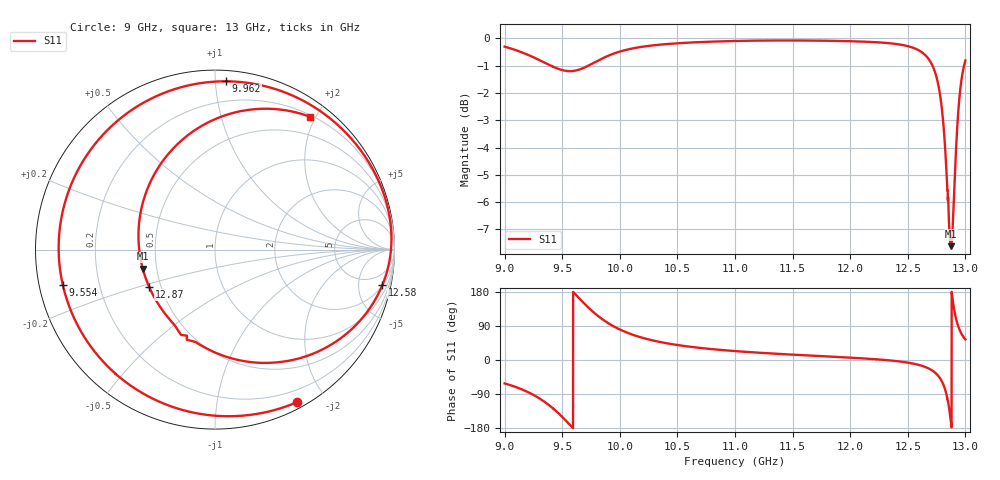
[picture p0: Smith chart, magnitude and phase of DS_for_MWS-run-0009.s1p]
! TOUCHSTONE file generated by CST DESIGN STUDIO
! Date and time: Tue Feb  4 15:45:04 2025
! Project name: C:\Work\MatlabApps\UnitCellOptimizationMatlab\CST\unitcell.cst
! Tree item: Tasks\Sweep1\SPara1\S-Parameters
! Header version: 2024
! Port assignment regex: !\s*Touchstone port\s*([0-9]+)\s*=\s*(CST MWS port|CST DES external port|CST DES block port)\s*(.+)\s* \(\"(.*)\"\)(\s*mode\s*([0-9]+))?.*
! Touchstone port assignment:
! Touchstone port 1 = CST DES external port 1 ("")
# GHz S MA R 50
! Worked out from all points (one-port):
!   4001 points, 9 GHz to 13 GHz, reference 50 ohm
!   lowest |S11| = -7.6 dB at 12.88 GHz (marker M1), VSWR 2.43, Z = 20.9 - j5.35 ohm
!   |S11| at or under -10 dB: nowhere
!   S11 on the Smith chart (normalised r, x): 9 GHz: 0.07, -1.67; 9.554 GHz: 0.07, -0.11; 9.962 GHz: 0.07, +1.06; 12.58 GHz: 2.08, -9.01; 12.87 GHz: 0.43, -0.22; 13 GHz: 0.22, +1.93
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9  0.9651 -61.8
9.154  0.9414 -78.1
9.305  0.9113 -101.8
9.406  0.8897 -124.1
9.5  0.8743 -150.1
9.554  0.8705 -166.9
9.651  0.8766 161.6
9.764  0.8992 128.1
9.855  0.9198 106.2
9.962  0.9396 86.3
10  0.9452 80.5
10.215  0.966 57.0
10.5  0.9788 39.6
11  0.9883 23.5
11.5  0.9905 14.1
12  0.9874 6.2
12.5  0.967 -6.9
12.584  0.9529 -12.0
12.689  0.9108 -23.6
12.757  0.8361 -39.3
12.825  0.6254 -78.8
12.847  0.5197 -108.0
12.869  0.4217 -150.4
12.875  0.4163 -165.3
12.899  0.5005 139.8
12.931  0.6974 95.3
12.958  0.8146 73.9
13  0.9105 54.3
